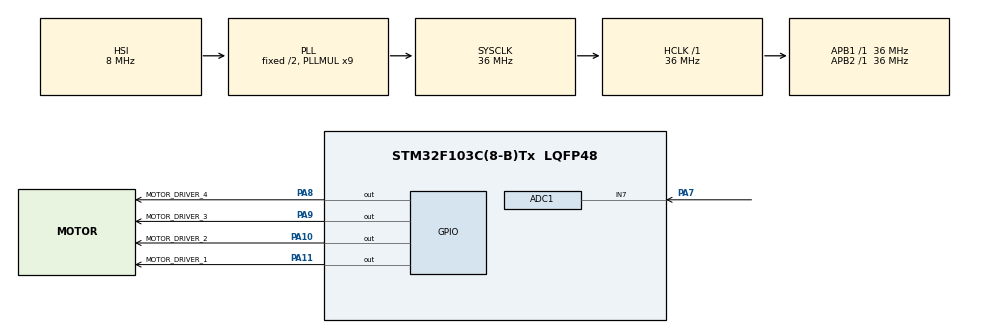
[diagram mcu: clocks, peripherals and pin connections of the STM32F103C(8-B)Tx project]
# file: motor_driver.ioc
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ADC1.Channel-1\#ChannelRegularConversion=ADC_CHANNEL_7
ADC1.NbrOfConversionFlag=1
ADC1.Rank-1\#ChannelRegularConversion=1
ADC1.SamplingTime-1\#ChannelRegularConversion=ADC_SAMPLETIME_1CYCLE_5
ADC1.master=1
Mcu.Family=STM32F1
Mcu.Name=STM32F103C(8-B)Tx
Mcu.Package=LQFP48
NVIC.PriorityGroup=NVIC_PRIORITYGROUP_4
PA10.GPIO_Label=MOTOR_DRIVER_2
PA10.Signal=GPIO_Output
PA11.GPIO_Label=MOTOR_DRIVER_1
PA11.Signal=GPIO_Output
PA13.Mode=Serial_Wire
PA13.Signal=SYS_JTMS-SWDIO
PA14.Mode=Serial_Wire
PA14.Signal=SYS_JTCK-SWCLK
PA7.Signal=ADCx_IN7
PA8.GPIO_Label=MOTOR_DRIVER_4
PA8.Signal=GPIO_Output
PA9.GPIO_Label=MOTOR_DRIVER_3
PA9.Signal=GPIO_Output
ProjectManager.HeapSize=0x200
ProjectManager.StackSize=0x400
ProjectManager.TargetToolchain=CMake
RCC.ADCPresc=RCC_ADCPCLK2_DIV4
RCC.AHBFreq_Value=36000000
RCC.APB1Freq_Value=36000000
RCC.APB1TimFreq_Value=36000000
RCC.APB2Freq_Value=36000000
RCC.APB2TimFreq_Value=36000000
RCC.HCLKFreq_Value=36000000
RCC.PLLMUL=RCC_PLL_MUL9
RCC.SYSCLKFreq_VALUE=36000000
RCC.SYSCLKSource=RCC_SYSCLKSOURCE_PLLCLK
RCC.USBFreq_Value=36000000
SH.ADCx_IN7.0=ADC1_IN7,IN7
board=custom

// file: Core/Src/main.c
/* USER CODE BEGIN Header */
/**
 ******************************************************************************
 * @file           : main.c
 * @brief          : Main program body
 ******************************************************************************
 * @attention
 *
 * Copyright (c) 2026 STMicroelectronics.
 * All rights reserved.
 *
 * This software is licensed under terms that can be found in the LICENSE file
 * in the root directory of this software component.
 * If no LICENSE file comes with this software, it is provided AS-IS.
 *
 ******************************************************************************
 */
/* USER CODE END Header */
#include "main.h"
#include "stm32f103xb.h"

/* USER CODE BEGIN PTD */
typedef enum { clockwise, counter_clockwise, none } direction;

typedef enum {
  // Enums are provided in clockwise direction

  // Full Stepping
  LLLL,
  HLLL,
  LHLL,
  LLHL,
  LLLH,
  // Repeat

  // --------------------------------------------------

  // Half Stepping
  // Any enum already in the full-stepping part will be commented out

  // LLLL,
  // HLLL,
  HHLL,
  // LHLL,
  LHHL,
  // LLHL,
  LLHH,
  // LLLH,
  HLLH
  // Repeat
} step_state;

typedef enum {
  full_step,
  half_step
  // microstepping
} step_mode;

typedef struct {
  uint32_t delay;
  step_mode mode;
  step_state current_state;
  uint16_t *pins;
  GPIO_TypeDef **ports;
} stepper_motor;

/* USER CODE END PTD */

/* USER CODE BEGIN PD */
#define INITIAL_DELAY 1

#define POTENTIOMETER_MAX_VALUE 4095
#define POTENTIOMETER_MIN_VALUE 0

#define MOTOR_DELAY_MAX 100
#define MOTOR_DELAY_MIN INITIAL_DELAY

#define SLOPE                                                                  \
  1.0 * (MOTOR_DELAY_MAX - MOTOR_DELAY_MIN) /                                  \
      (POTENTIOMETER_MAX_VALUE - POTENTIOMETER_MIN_VALUE)
/* USER CODE END PD */

ADC_HandleTypeDef hadc1;

/* USER CODE BEGIN PV */
// Global Variable controlling speed
uint32_t potentiometer_value;
/* USER CODE END PV */

void SystemClock_Config(void);
static void MX_GPIO_Init(void);
static void MX_ADC1_Init(void);
/* USER CODE BEGIN PFP */
void drive_value(step_state next_state, stepper_motor *motor);
void clockwise_rotation();

uint32_t read_potentiometer();

void step(int32_t step_amount, stepper_motor *motor);
step_state get_next_state(direction direction, stepper_motor *motor);
uint32_t get_delay_time(uint32_t input);
/* USER CODE END PFP */

int main(void) {

  /* MCU Configuration--------------------------------------------------------*/

  /* Reset of all peripherals, Initializes the Flash interface and the Systick.
   */
  HAL_Init();

  /* Configure the system clock */
  SystemClock_Config();

  /* Initialize all configured peripherals */
  MX_GPIO_Init();
  MX_ADC1_Init();
  /* USER CODE BEGIN 2 */
  uint16_t pins[4] = {MOTOR_DRIVER_1_Pin, MOTOR_DRIVER_2_Pin,
                      MOTOR_DRIVER_3_Pin, MOTOR_DRIVER_4_Pin};
  GPIO_TypeDef *ports[4] = {MOTOR_DRIVER_1_GPIO_Port, MOTOR_DRIVER_2_GPIO_Port,
                            MOTOR_DRIVER_3_GPIO_Port, MOTOR_DRIVER_4_GPIO_Port};
  stepper_motor motor = {INITIAL_DELAY, half_step, LLLL, pins, ports};
  /* USER CODE END 2 */

  /* Infinite loop */
  /* USER CODE BEGIN WHILE */
  while (1) {
    potentiometer_value = read_potentiometer();
    motor.delay = get_delay_time(potentiometer_value);

    step(3000, &motor);
    step(-3000, &motor);
    // Rotate Clockwise endlessly
    /* USER CODE END WHILE */

  }
}

void SystemClock_Config(void) {
  RCC_OscInitTypeDef RCC_OscInitStruct = {0};
  RCC_ClkInitTypeDef RCC_ClkInitStruct = {0};
  RCC_PeriphCLKInitTypeDef PeriphClkInit = {0};

  /** Initializes the RCC Oscillators according to the specified parameters
   * in the RCC_OscInitTypeDef structure.
   */
  RCC_OscInitStruct.OscillatorType = RCC_OSCILLATORTYPE_HSI;
  RCC_OscInitStruct.HSIState = RCC_HSI_ON;
  RCC_OscInitStruct.HSICalibrationValue = RCC_HSICALIBRATION_DEFAULT;
  RCC_OscInitStruct.PLL.PLLState = RCC_PLL_ON;
  RCC_OscInitStruct.PLL.PLLSource = RCC_PLLSOURCE_HSI_DIV2;
  RCC_OscInitStruct.PLL.PLLMUL = RCC_PLL_MUL9;
  if (HAL_RCC_OscConfig(&RCC_OscInitStruct) != HAL_OK) {
    Error_Handler();
  }

  /** Initializes the CPU, AHB and APB buses clocks
   */
  RCC_ClkInitStruct.ClockType = RCC_CLOCKTYPE_HCLK | RCC_CLOCKTYPE_SYSCLK |
                                RCC_CLOCKTYPE_PCLK1 | RCC_CLOCKTYPE_PCLK2;
  RCC_ClkInitStruct.SYSCLKSource = RCC_SYSCLKSOURCE_PLLCLK;
  RCC_ClkInitStruct.AHBCLKDivider = RCC_SYSCLK_DIV1;
  RCC_ClkInitStruct.APB1CLKDivider = RCC_HCLK_DIV1;
  RCC_ClkInitStruct.APB2CLKDivider = RCC_HCLK_DIV1;

  if (HAL_RCC_ClockConfig(&RCC_ClkInitStruct, FLASH_LATENCY_1) != HAL_OK) {
    Error_Handler();
  }
  PeriphClkInit.PeriphClockSelection = RCC_PERIPHCLK_ADC;
  PeriphClkInit.AdcClockSelection = RCC_ADCPCLK2_DIV4;
  if (HAL_RCCEx_PeriphCLKConfig(&PeriphClkInit) != HAL_OK) {
    Error_Handler();
  }
}

static void MX_ADC1_Init(void) {

  ADC_ChannelConfTypeDef sConfig = {0};

  /** Common config
   */
  hadc1.Instance = ADC1;
  hadc1.Init.ScanConvMode = ADC_SCAN_DISABLE;
  hadc1.Init.ContinuousConvMode = DISABLE;
  hadc1.Init.DiscontinuousConvMode = DISABLE;
  hadc1.Init.ExternalTrigConv = ADC_SOFTWARE_START;
  hadc1.Init.DataAlign = ADC_DATAALIGN_RIGHT;
  hadc1.Init.NbrOfConversion = 1;
  if (HAL_ADC_Init(&hadc1) != HAL_OK) {
    Error_Handler();
  }

  /** Configure Regular Channel
   */
  sConfig.Channel = ADC_CHANNEL_7;
  sConfig.Rank = ADC_REGULAR_RANK_1;
  sConfig.SamplingTime = ADC_SAMPLETIME_1CYCLE_5;
  if (HAL_ADC_ConfigChannel(&hadc1, &sConfig) != HAL_OK) {
    Error_Handler();
  }
}

static void MX_GPIO_Init(void) {
  GPIO_InitTypeDef GPIO_InitStruct = {0};

  /* GPIO Ports Clock Enable */
  __HAL_RCC_GPIOA_CLK_ENABLE();

  /*Configure GPIO pin Output Level */
  HAL_GPIO_WritePin(GPIOA,
                    MOTOR_DRIVER_4_Pin | MOTOR_DRIVER_3_Pin |
                        MOTOR_DRIVER_2_Pin | MOTOR_DRIVER_1_Pin,
                    GPIO_PIN_RESET);

  /*Configure GPIO pins : MOTOR_DRIVER_4_Pin MOTOR_DRIVER_3_Pin
   * MOTOR_DRIVER_2_Pin MOTOR_DRIVER_1_Pin */
  GPIO_InitStruct.Pin = MOTOR_DRIVER_4_Pin | MOTOR_DRIVER_3_Pin |
                        MOTOR_DRIVER_2_Pin | MOTOR_DRIVER_1_Pin;
  GPIO_InitStruct.Mode = GPIO_MODE_OUTPUT_PP;
  GPIO_InitStruct.Pull = GPIO_NOPULL;
  GPIO_InitStruct.Speed = GPIO_SPEED_FREQ_LOW;
  HAL_GPIO_Init(GPIOA, &GPIO_InitStruct);

}

/* USER CODE BEGIN 4 */

// Rotates the stepper motor clockwise continuously
void clockwise_rotation() {
  /*
    step_state current_state = LLLL;
    while (true) {
      current_state = get_next_state(current_state, clockwise);
      drive_value(current_state);
      HAL_Delay(MOTOR_DELAY);
    }
      */
}

void drive_value(step_state next_state, stepper_motor *motor) {
  switch (next_state) {
  case LLLL:
    HAL_GPIO_WritePin(motor->ports[0], motor->pins[0], GPIO_PIN_RESET);
    HAL_GPIO_WritePin(motor->ports[1], motor->pins[1], GPIO_PIN_RESET);
    HAL_GPIO_WritePin(motor->ports[2], motor->pins[2], GPIO_PIN_RESET);
    HAL_GPIO_WritePin(motor->ports[3], motor->pins[3], GPIO_PIN_RESET);
    break;
  case HLLL:
    HAL_GPIO_WritePin(motor->ports[0], motor->pins[0], GPIO_PIN_SET);
    HAL_GPIO_WritePin(motor->ports[1], motor->pins[1], GPIO_PIN_RESET);
    HAL_GPIO_WritePin(motor->ports[2], motor->pins[2], GPIO_PIN_RESET);
    HAL_GPIO_WritePin(motor->ports[3], motor->pins[3], GPIO_PIN_RESET);
    break;
  case LHLL:
    HAL_GPIO_WritePin(motor->ports[0], motor->pins[0], GPIO_PIN_RESET);
    HAL_GPIO_WritePin(motor->ports[1], motor->pins[1], GPIO_PIN_SET);
    HAL_GPIO_WritePin(motor->ports[2], motor->pins[2], GPIO_PIN_RESET);
    HAL_GPIO_WritePin(motor->ports[3], motor->pins[3], GPIO_PIN_RESET);
    break;
  case LLHL:
    HAL_GPIO_WritePin(motor->ports[0], motor->pins[0], GPIO_PIN_RESET);
    HAL_GPIO_WritePin(motor->ports[1], motor->pins[1], GPIO_PIN_RESET);
    HAL_GPIO_WritePin(motor->ports[2], motor->pins[2], GPIO_PIN_SET);
    HAL_GPIO_WritePin(motor->ports[3], motor->pins[3], GPIO_PIN_RESET);
    break;
  case LLLH:
    HAL_GPIO_WritePin(motor->ports[0], motor->pins[0], GPIO_PIN_RESET);
    HAL_GPIO_WritePin(motor->ports[1], motor->pins[1], GPIO_PIN_RESET);
    HAL_GPIO_WritePin(motor->ports[2], motor->pins[2], GPIO_PIN_RESET);
    HAL_GPIO_WritePin(motor->ports[3], motor->pins[3], GPIO_PIN_SET);
    break;
  case HHLL:
    HAL_GPIO_WritePin(motor->ports[0], motor->pins[0], GPIO_PIN_SET);
    HAL_GPIO_WritePin(motor->ports[1], motor->pins[1], GPIO_PIN_SET);
    HAL_GPIO_WritePin(motor->ports[2], motor->pins[2], GPIO_PIN_RESET);
    HAL_GPIO_WritePin(motor->ports[3], motor->pins[3], GPIO_PIN_RESET);
    break;
  case LHHL:
    HAL_GPIO_WritePin(motor->ports[0], motor->pins[0], GPIO_PIN_RESET);
    HAL_GPIO_WritePin(motor->ports[1], motor->pins[1], GPIO_PIN_SET);
    HAL_GPIO_WritePin(motor->ports[2], motor->pins[2], GPIO_PIN_SET);
    HAL_GPIO_WritePin(motor->ports[3], motor->pins[3], GPIO_PIN_RESET);
    break;
  case LLHH:
    HAL_GPIO_WritePin(motor->ports[0], motor->pins[0], GPIO_PIN_RESET);
    HAL_GPIO_WritePin(motor->ports[1], motor->pins[1], GPIO_PIN_RESET);
    HAL_GPIO_WritePin(motor->ports[2], motor->pins[2], GPIO_PIN_SET);
    HAL_GPIO_WritePin(motor->ports[3], motor->pins[3], GPIO_PIN_SET);
    break;
  case HLLH:
    HAL_GPIO_WritePin(motor->ports[0], motor->pins[0], GPIO_PIN_SET);
    HAL_GPIO_WritePin(motor->ports[1], motor->pins[1], GPIO_PIN_RESET);
    HAL_GPIO_WritePin(motor->ports[2], motor->pins[2], GPIO_PIN_RESET);
    HAL_GPIO_WritePin(motor->ports[3], motor->pins[3], GPIO_PIN_SET);
    break;
  }
}

uint32_t read_potentiometer() {
  HAL_ADC_Start(&hadc1);
  HAL_ADC_PollForConversion(&hadc1, 10000);
  uint32_t value = HAL_ADC_GetValue(&hadc1);
  HAL_ADC_Stop(&hadc1);

  return value;
}

void step(int32_t step_amount, stepper_motor *motor) {
  direction direction = none;

  if (step_amount > 0)
    direction = clockwise;
  else if (step_amount < 0)
    direction = counter_clockwise;

  uint32_t abs_step_count =
      (direction == clockwise) ? step_amount : -step_amount;
  if (motor->mode == half_step)
    abs_step_count *= 2;

  for (uint32_t i = 0; i < abs_step_count; i++) {
    // Get next state and drive it
    motor->current_state = get_next_state(direction, motor);
    drive_value(motor->current_state, motor);
    HAL_Delay(motor->delay);
  }
}

step_state get_next_state(direction direction, stepper_motor *motor) {
  // First, check which mode the motor is in
  switch (motor->mode) {

  // If full-stepping
  case full_step:
    switch (motor->current_state) {
    // If motor has not been moved yet
    case LLLL:
      if (direction == clockwise)
        return HLLL;
      return LLLH;

    case HLLL:
      if (direction == clockwise)
        return LHLL;
      return LLLH;
    case LHLL:
      if (direction == clockwise)
        return LLHL;
      return HLLL;
    case LLHL:
      if (direction == clockwise)
        return LLLH;
      return LHLL;
    case LLLH:
      if (direction == clockwise)
        return HLLL;
      return LLHL;
    default:
      return LLLL;
    }

  // If half-stepping
  case half_step:
    switch (motor->current_state) {
    // If motor has not been moved yet
    case LLLL:
      if (direction == clockwise)
        return HLLL;
      return LLLH;

    case HLLL:
      if (direction == clockwise)
        return HHLL;
      return HLLH;
    case HHLL:
      if (direction == clockwise)
        return LHLL;
      return HLLL;
    case LHLL:
      if (direction == clockwise)
        return LHHL;
      return HHLL;
    case LHHL:
      if (direction == clockwise)
        return LLHL;
      return LHLL;
    case LLHL:
      if (direction == clockwise)
        return LLHH;
      return LHHL;
    case LLHH:
      if (direction == clockwise)
        return LLLH;
      return LLHL;
    case LLLH:
      if (direction == clockwise)
        return HLLH;
      return LLHH;
    case HLLH:
      if (direction == clockwise)
        return HLLL;
      return LLLH;
    default:
      return LLLL;
    }

    // case microstepping:

  default:
    return LLLL;
  }
}

// Map the potentiometer value to a delay of miliseconds between 4 to 100
uint32_t get_delay_time(uint32_t input) {
  return MOTOR_DELAY_MIN + SLOPE * (input - POTENTIOMETER_MIN_VALUE);
}
/* USER CODE END 4 */

void Error_Handler(void) {
  __disable_irq();
  while (1) {
  }
}
#ifdef USE_FULL_ASSERT
/**
 * @brief  Reports the name of the source file and the source line number
 *         where the assert_param error has occurred.
 * @param  file: pointer to the source file name
 * @param  line: assert_param error line source number
 * @retval None
 */
void assert_failed(uint8_t *file, uint32_t line) {
  /* USER CODE BEGIN 6 */
  /* User can add his own implementation to report the file name and line
     number, ex: printf("Wrong parameters value: file %s on line %d\r\n", file,
     line) */
  /* USER CODE END 6 */
}
#endif /* USE_FULL_ASSERT */
